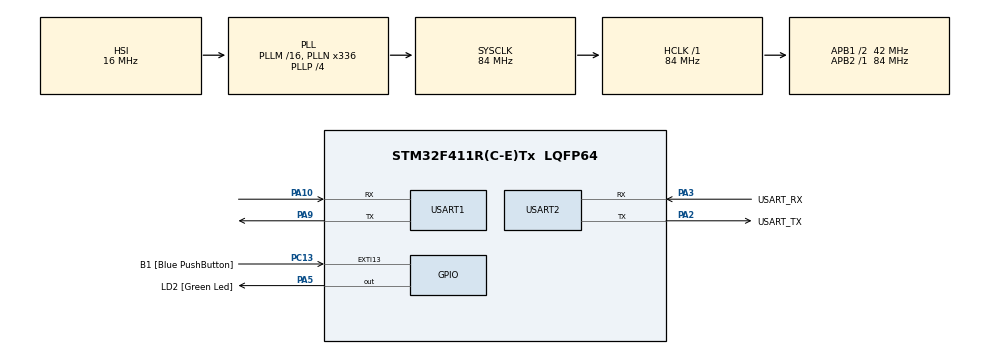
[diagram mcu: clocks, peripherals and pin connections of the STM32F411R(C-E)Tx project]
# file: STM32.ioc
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Mcu.Family=STM32F4
Mcu.Name=STM32F411R(C-E)Tx
Mcu.Package=LQFP64
NVIC.PriorityGroup=NVIC_PRIORITYGROUP_0
PA10.Mode=Asynchronous
PA10.Signal=USART1_RX
PA13.GPIO_Label=TMS
PA13.Mode=Serial_Wire
PA13.Signal=SYS_JTMS-SWDIO
PA14.GPIO_Label=TCK
PA14.Mode=Serial_Wire
PA14.Signal=SYS_JTCK-SWCLK
PA2.GPIO_Label=USART_TX
PA2.Mode=Asynchronous
PA2.Signal=USART2_TX
PA3.GPIO_Label=USART_RX
PA3.Mode=Asynchronous
PA3.Signal=USART2_RX
PA5.GPIO_Label=LD2 [Green Led]
PA5.Signal=GPIO_Output
PA9.Mode=Asynchronous
PA9.Signal=USART1_TX
PB3.GPIO_Label=SWO
PB3.Signal=SYS_JTDO-SWO
PC13-ANTI_TAMP.GPIO_Label=B1 [Blue PushButton]
PC13-ANTI_TAMP.GPIO_ModeDefaultEXTI=GPIO_MODE_IT_FALLING
PC13-ANTI_TAMP.Signal=GPXTI13
PC14-OSC32_IN.Mode=LSE-External-Oscillator
PC14-OSC32_IN.Signal=RCC_OSC32_IN
PC15-OSC32_OUT.Mode=LSE-External-Oscillator
PC15-OSC32_OUT.Signal=RCC_OSC32_OUT
PH0\ -\ OSC_IN.Mode=HSE-External-Clock-Source
PH0\ -\ OSC_IN.Signal=RCC_OSC_IN
PH1\ -\ OSC_OUT.Mode=HSE-External-Clock-Source
PH1\ -\ OSC_OUT.Signal=RCC_OSC_OUT
ProjectManager.HeapSize=0x200
ProjectManager.StackSize=0x400
ProjectManager.TargetToolchain=Makefile
RCC.48MHZClocksFreq_Value=84000000
RCC.AHBFreq_Value=84000000
RCC.APB1CLKDivider=RCC_HCLK_DIV2
RCC.APB1Freq_Value=42000000
RCC.APB1TimFreq_Value=84000000
RCC.APB2Freq_Value=84000000
RCC.APB2TimFreq_Value=84000000
RCC.CortexFreq_Value=84000000
RCC.FLatency-AdvancedSettings=FLASH_LATENCY_2
RCC.HCLKFreq_Value=84000000
RCC.HSE_VALUE=8000000
RCC.HSI_VALUE=16000000
RCC.PLLN=336
RCC.PLLP=RCC_PLLP_DIV4
RCC.SYSCLKFreq_VALUE=84000000
RCC.SYSCLKSource=RCC_SYSCLKSOURCE_PLLCLK
RCC.VCOOutputFreq_Value=336000000
USART1.VirtualMode=VM_ASYNC
USART2.VirtualMode=VM_ASYNC
board=NUCLEO-F411RE

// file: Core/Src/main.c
/* USER CODE BEGIN Header */
/**
  ******************************************************************************
  * @file           : main.c
  * @brief          : Main program body
  ******************************************************************************
  * @attention
  *
  * Copyright (c) 2026 STMicroelectronics.
  * All rights reserved.
  *
  * This software is licensed under terms that can be found in the LICENSE file
  * in the root directory of this software component.
  * If no LICENSE file comes with this software, it is provided AS-IS.
  *
  ******************************************************************************
  */
/* USER CODE END Header */
#include "main.h"

/* USER CODE BEGIN Includes */
#include "board_link.h"
#include "platform.h"
#include "feature_list.h"
#include "uart.h"
/* USER CODE END Includes */

UART_HandleTypeDef huart1;
UART_HandleTypeDef huart2;

void SystemClock_Config(void);
static void MX_GPIO_Init(void);
static void MX_USART1_UART_Init(void);
static void MX_USART2_UART_Init(void);

/* USER CODE BEGIN 0 */
static void initHardware(int argc, char ** argv)
{
  /* Reset of all peripherals, Initializes the Flash interface and the Systick. */
  HAL_Init();

  /* Configure the system clock */
  SystemClock_Config();

  /* Initialize all configured peripherals */
  MX_GPIO_Init();

  //setup_board_link();
  MX_USART1_UART_Init();
  //uart_init();
  MX_USART2_UART_Init();

  setLED(OFF);
}

void initHardware_car(int argc, char ** argv)
{
  initHardware(argc, argv);
}

void initHardware_fob(int argc, char ** argv)
{
  initHardware(argc, argv);
}

void readVar(uint8_t* dest, char * var, size_t size){}
void saveFobState(FLASH_DATA *flash_data){}

void setLED(led_color_t color)
{
  HAL_GPIO_WritePin(LD2_GPIO_Port, LD2_Pin, color == GREEN);
}

bool buttonPressed(void)
{
    static uint32_t history = 0;
    static bool latched = false;

    history = (history << 1) |
              (HAL_GPIO_ReadPin(B1_GPIO_Port, B1_Pin) == GPIO_PIN_SET);

    if (history == 0xFFFFFFFF && !latched) {
        latched = true;
        return true;        // button just pressed
    }

    if (history == 0x00000000) {
        latched = false;    // fully released
    }

    return false;
}

UART_HandleTypeDef* uart_base(hw_uart_t uart) {
    switch (uart) {
        case BOARD_UART: return &huart1;
        case HOST_UART:  // Intentional fall-through
        default: return &huart2;
    }
}
/* USER CODE END 0 */

void SystemClock_Config(void)
{
  RCC_OscInitTypeDef RCC_OscInitStruct = {0};
  RCC_ClkInitTypeDef RCC_ClkInitStruct = {0};

  /** Configure the main internal regulator output voltage
  */
  __HAL_RCC_PWR_CLK_ENABLE();
  __HAL_PWR_VOLTAGESCALING_CONFIG(PWR_REGULATOR_VOLTAGE_SCALE1);

  /** Initializes the RCC Oscillators according to the specified parameters
  * in the RCC_OscInitTypeDef structure.
  */
  RCC_OscInitStruct.OscillatorType = RCC_OSCILLATORTYPE_HSI;
  RCC_OscInitStruct.HSIState = RCC_HSI_ON;
  RCC_OscInitStruct.HSICalibrationValue = RCC_HSICALIBRATION_DEFAULT;
  RCC_OscInitStruct.PLL.PLLState = RCC_PLL_ON;
  RCC_OscInitStruct.PLL.PLLSource = RCC_PLLSOURCE_HSI;
  RCC_OscInitStruct.PLL.PLLM = 16;
  RCC_OscInitStruct.PLL.PLLN = 336;
  RCC_OscInitStruct.PLL.PLLP = RCC_PLLP_DIV4;
  RCC_OscInitStruct.PLL.PLLQ = 4;
  if (HAL_RCC_OscConfig(&RCC_OscInitStruct) != HAL_OK)
  {
    Error_Handler();
  }

  /** Initializes the CPU, AHB and APB buses clocks
  */
  RCC_ClkInitStruct.ClockType = RCC_CLOCKTYPE_HCLK|RCC_CLOCKTYPE_SYSCLK
                              |RCC_CLOCKTYPE_PCLK1|RCC_CLOCKTYPE_PCLK2;
  RCC_ClkInitStruct.SYSCLKSource = RCC_SYSCLKSOURCE_PLLCLK;
  RCC_ClkInitStruct.AHBCLKDivider = RCC_SYSCLK_DIV1;
  RCC_ClkInitStruct.APB1CLKDivider = RCC_HCLK_DIV2;
  RCC_ClkInitStruct.APB2CLKDivider = RCC_HCLK_DIV1;

  if (HAL_RCC_ClockConfig(&RCC_ClkInitStruct, FLASH_LATENCY_2) != HAL_OK)
  {
    Error_Handler();
  }
}

static void MX_USART1_UART_Init(void)
{

  huart1.Instance = USART1;
  huart1.Init.BaudRate = 115200;
  huart1.Init.WordLength = UART_WORDLENGTH_8B;
  huart1.Init.StopBits = UART_STOPBITS_1;
  huart1.Init.Parity = UART_PARITY_NONE;
  huart1.Init.Mode = UART_MODE_TX_RX;
  huart1.Init.HwFlowCtl = UART_HWCONTROL_NONE;
  huart1.Init.OverSampling = UART_OVERSAMPLING_16;
  if (HAL_UART_Init(&huart1) != HAL_OK)
  {
    Error_Handler();
  }

}

static void MX_USART2_UART_Init(void)
{

  huart2.Instance = USART2;
  huart2.Init.BaudRate = 115200;
  huart2.Init.WordLength = UART_WORDLENGTH_8B;
  huart2.Init.StopBits = UART_STOPBITS_1;
  huart2.Init.Parity = UART_PARITY_NONE;
  huart2.Init.Mode = UART_MODE_TX_RX;
  huart2.Init.HwFlowCtl = UART_HWCONTROL_NONE;
  huart2.Init.OverSampling = UART_OVERSAMPLING_16;
  if (HAL_UART_Init(&huart2) != HAL_OK)
  {
    Error_Handler();
  }

}

static void MX_GPIO_Init(void)
{
  GPIO_InitTypeDef GPIO_InitStruct = {0};

  /* GPIO Ports Clock Enable */
  __HAL_RCC_GPIOC_CLK_ENABLE();
  __HAL_RCC_GPIOH_CLK_ENABLE();
  __HAL_RCC_GPIOA_CLK_ENABLE();
  __HAL_RCC_GPIOB_CLK_ENABLE();

  /*Configure GPIO pin Output Level */
  HAL_GPIO_WritePin(LD2_GPIO_Port, LD2_Pin, GPIO_PIN_RESET);

  /*Configure GPIO pin : B1_Pin */
  GPIO_InitStruct.Pin = B1_Pin;
  GPIO_InitStruct.Mode = GPIO_MODE_IT_FALLING;
  GPIO_InitStruct.Pull = GPIO_NOPULL;
  HAL_GPIO_Init(B1_GPIO_Port, &GPIO_InitStruct);

  /*Configure GPIO pin : LD2_Pin */
  GPIO_InitStruct.Pin = LD2_Pin;
  GPIO_InitStruct.Mode = GPIO_MODE_OUTPUT_PP;
  GPIO_InitStruct.Pull = GPIO_NOPULL;
  GPIO_InitStruct.Speed = GPIO_SPEED_FREQ_LOW;
  HAL_GPIO_Init(LD2_GPIO_Port, &GPIO_InitStruct);

}

void Error_Handler(void)
{
  __disable_irq();
  while (1)
  {
  }
}
